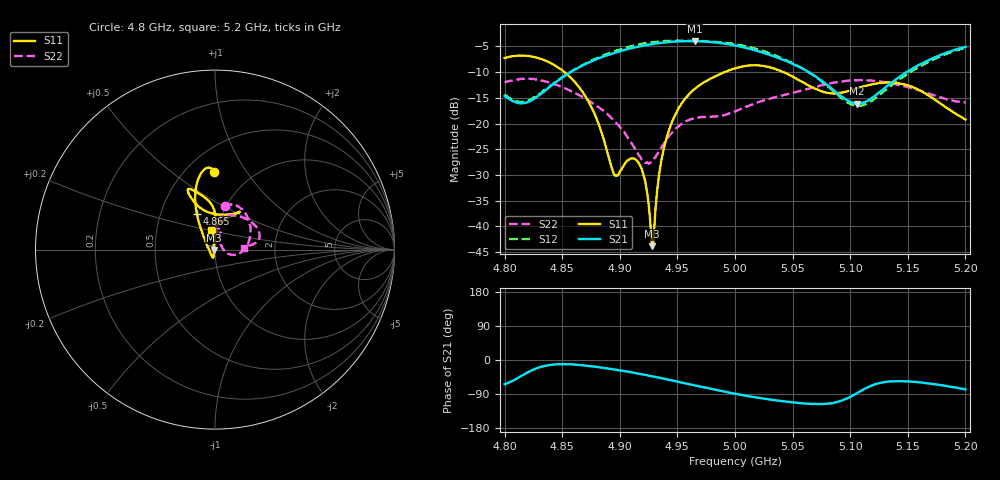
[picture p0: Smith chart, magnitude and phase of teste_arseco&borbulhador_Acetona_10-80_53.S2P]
! Network Analyzer HP8722D
! Hewlett-Packard
! Data name: Linha & Wilkinson
! Saver's name: Rodrigo Anjos
! Comments: Teste da utilização de aquisição
! continua pelo VNA HP8722D
! Time and date: 25/4/2025 15:42
!  Frequency  S11  S21  S12  S22
# HZ  S  MA R 50
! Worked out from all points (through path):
!   401 points, 4.8 GHz to 5.2 GHz, reference 50 ohm
!   highest |S21| = -3.95 dB at 4.965 GHz (marker M1); lowest = -16.1 dB at 5.106 GHz (marker M2)
!   lowest |S11| = -43.8 dB at 4.928 GHz (marker M3), VSWR 1.01, Z = 49.4 - j0.237 ohm
!   |S11| at or under -10 dB: 4.852 GHz to 4.991 GHz (139.1 MHz wide, 2.83 % of centre); 5.042 GHz to end of sweep
!   |S22| runs from -27.8 to -11.2 dB; largest |S21 - S12| = 1.2
!   S11 on the Smith chart (normalised r, x): 4.8 GHz: 0.68, +0.72; 4.865 GHz: 0.76, +0.32; 5.2 GHz: 0.94, +0.20
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4.8e9  0.4335 90.6  0.1859 -63.8  0.1915 69.6  0.2497 77.3
4.821e9  0.4538 97.2  0.1635 -31.2  0.1681 99.8  0.2731 61.2
4.865e9  0.2229 116.9  0.3532 -13.1  0.3582 120.9  0.1885 11.0
4.867e9  0.2076 118.0  0.3641 -13.9  0.368 120.7  0.1837 8.6
4.88e9  0.1102 128.2  0.4236 -18.3  0.4332 118.3  0.1487 -5.2
4.896e9  0.03116 -164.0  0.4892 -25.5  0.5077 113.2  0.1044 -16.2
4.909e9  0.04556 -106.3  0.5374 -32.0  0.5618 107.6  0.06716 -15.0
4.917e9  0.04001 -101.5  0.5624 -36.5  0.5891 103.6  0.04843 -2.1
4.922e9  0.02769 -104.4  0.5765 -39.2  0.6031 100.8  0.04168 14.8
4.928e9  0.00643 -158.1  0.5925 -42.9  0.6181 97.1  0.0428 40.5
4.93e9  0.009892 123.8  0.5967 -44.0  0.6223 95.7  0.04587 47.8
4.934e9  0.03138 98.5  0.6049 -46.8  0.6298 93.3  0.05436 58.4
4.939e9  0.06207 92.3  0.6135 -49.8  0.6365 89.9  0.06571 66.1
4.945e9  0.1019 89.8  0.6245 -53.8  0.6404 86.4  0.08061 70.0
4.965e9  0.2168 90.8  0.6343 -66.9  0.6389 73.5  0.1131 72.1
5e9  0.3445 109.0  0.5744 -89.0  0.5927 50.8  0.1316 88.5
5.03e9  0.3525 115.1  0.4661 -104.1  0.4833 33.8  0.1737 85.4
5.067e9  0.2253 105.1  0.3018 -116.0  0.2994 23.6  0.2227 57.3
5.106e9  0.2201 64.3  0.1562 -87.2  0.1485 55.7  0.2633 24.9
5.134e9  0.2506 56.9  0.2412 -56.6  0.2267 88.6  0.248 12.5
5.169e9  0.1849 69.5  0.4189 -62.0  0.4026 84.8  0.1946 6.8
5.2e9  0.1094 100.4  0.5564 -77.4  0.5449 70.2  0.1608 3.8
